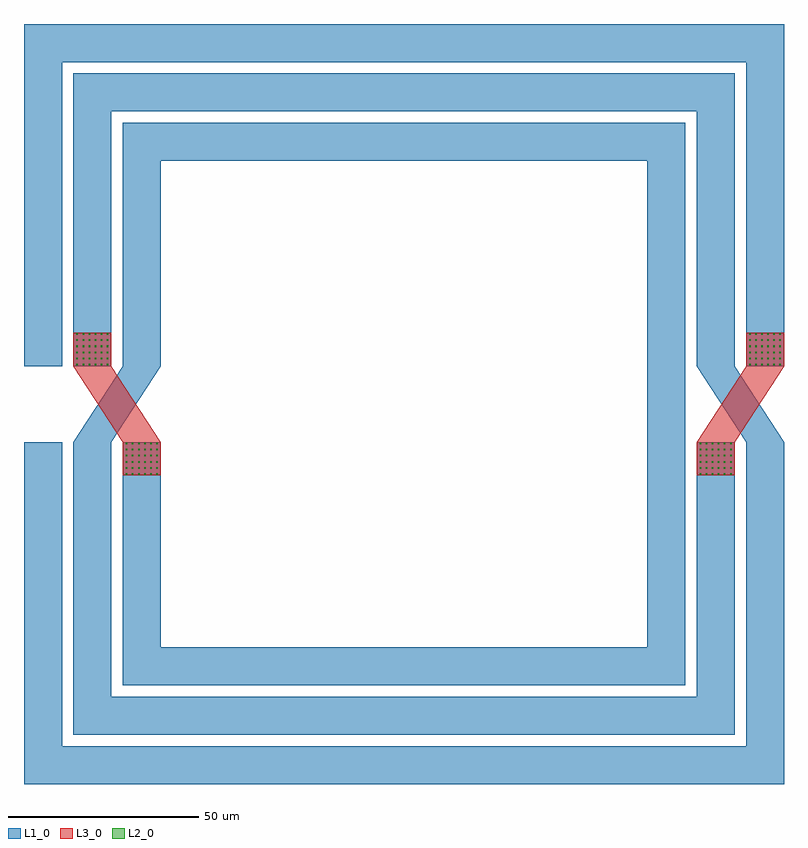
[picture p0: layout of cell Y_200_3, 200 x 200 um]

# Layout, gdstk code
import gdstk
lib = gdstk.Library(unit=1e-6, precision=1e-09)
def R(c, l, rs):  # rectangles x0, y0, x1, y1
    for r in rs: c.add(gdstk.rectangle(r[:2], r[2:], *l))
def A(c, l, x, y, w, h, nx, ny, dx, dy):  # array of equal rectangles
    R(c, l, [(x+i*dx, y+j*dy, x+i*dx+w, y+j*dy+h) for i in range(nx) for j in range(ny)])
def P(c, l, *ps):  # polygons
    for p in ps: c.add(gdstk.Polygon(p, *l))
L1_0 = (1, 0)
L2_0 = (2, 0)
L3_0 = (3, 0)

y_200_3 = lib.new_cell('Y_200_3')
R(y_200_3, L1_0, [(126.005,191.19,135.995,199.99), (277,191.19,287,199.99), (264,200,274,210), (264,210,274,220), (113,220,123,228.8), (290,220,300,228.8)])
P(y_200_3, L1_0, [(100,220),(100,310),(110,300),(110,220)],
  [(110,300),(100,310),(300,310),(290,300)],
  [(290,220),(290,300),(300,310),(300,220)],
  [(287,123),(277,133),(277,200),(287,200)],
  [(113,123),(123,133),(277,133),(287,123)],
  [(113,123),(113,200),(123,200),(123,133)],
  [(113,200),(126,220),(136,220),(123,200)],
  [(126,220),(126,284),(136,274),(136,220)],
  [(136,274),(126,284),(274,284),(264,274)],
  [(264,220),(264,274),(274,284),(274,220)],
  [(274,136),(264,146),(264,200),(274,200)],
  [(126,136),(136,146),(264,146),(274,136)],
  [(126,136),(126,200),(136,200),(136,146)],
  [(113,220),(113,297),(123,287),(123,220)],
  [(123,287),(113,297),(287,297),(277,287)],
  [(277,220),(277,287),(287,297),(287,220)],
  [(290,200),(277,220),(287,220),(300,200)],
  [(300,110),(290,120),(290,200),(300,200)],
  [(100,110),(110,120),(290,120),(300,110)],
  [(100,110),(100,200),(110,200),(110,120)])
A(y_200_3, L2_0, 126.8, 191.39, 0.4, 0.4, 6, 6, 1.6, 1.6)
A(y_200_3, L2_0, 277.8, 191.39, 0.4, 0.4, 6, 6, 1.6, 1.6)
A(y_200_3, L2_0, 113.8, 220.2, 0.4, 0.4, 6, 6, 1.6, 1.6)
A(y_200_3, L2_0, 290.8, 220.2, 0.4, 0.4, 6, 6, 1.6, 1.6)
R(y_200_3, L3_0, [(126.005,191.19,135.995,199.99), (277,191.19,287,199.99), (113,220,123,228.8), (290,220,300,228.8)])
P(y_200_3, L3_0, [(277,200),(290,220),(300,220),(287,200)],
  [(126,200),(113,220),(123,220),(136,200)])

lib.write_gds('Y_200_3.gds')
